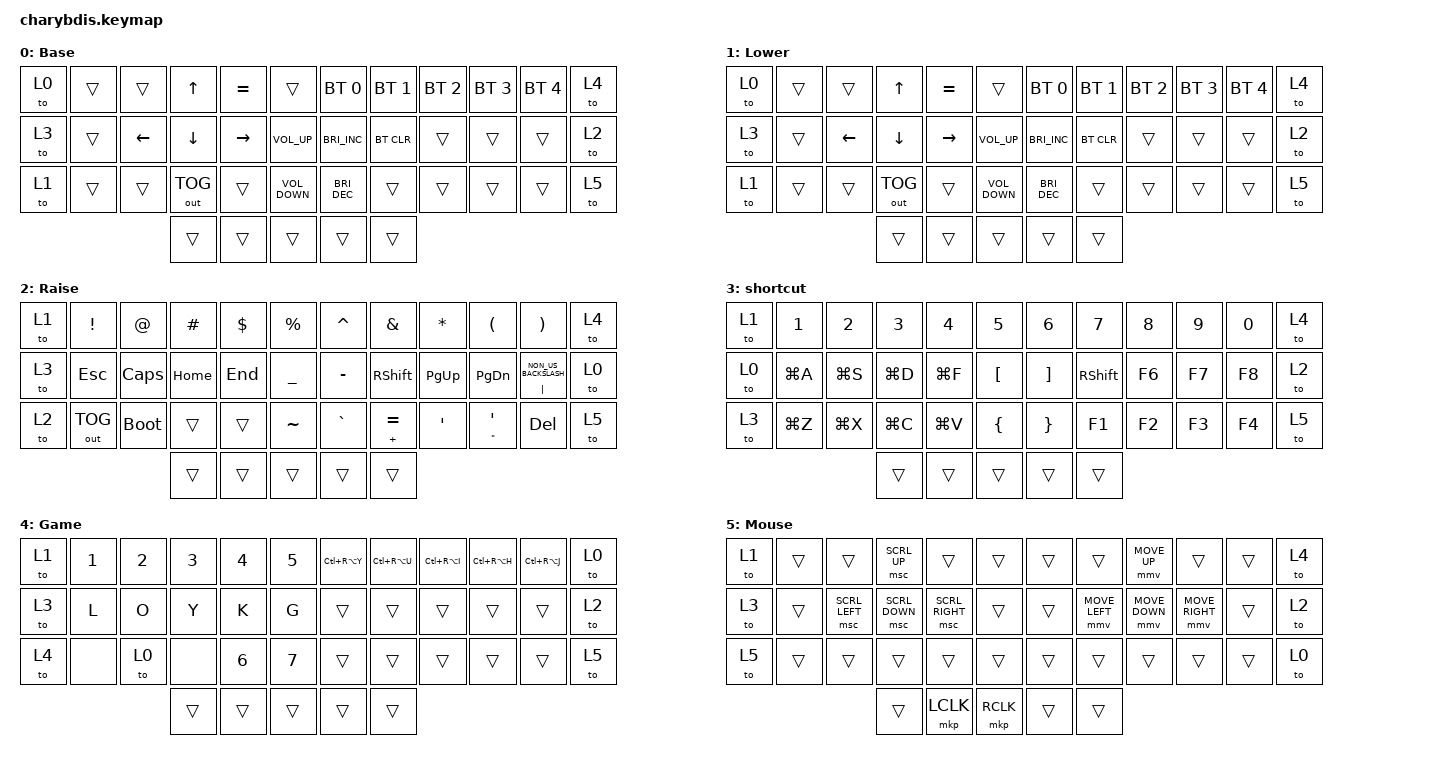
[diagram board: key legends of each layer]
#include <behaviors.dtsi>
#include <dt-bindings/zmk/mouse.h>
#include <dt-bindings/zmk/bt.h>
#include <dt-bindings/zmk/keys.h>
#include <dt-bindings/zmk/outputs.h>

&lt {
    tapping-term-ms = <240>;
    flavor = "balanced";
    quick-tap-ms = <150>;
};

&mt {
    global-quick-tap;
    flavor = "tap-preferred";
    tapping-term-ms = <200>;
};

&sk {
    release-after-ms = <2000>;
    quick-release;
};

/ {
    combos {
        compatible = "zmk,combos";

        combo_esc {
            timeout-ms = <50>;
            key-positions = <0 1>;
            bindings = <&kp ESC>;
        };

        left_bkt {
            bindings = <&kp LEFT_BRACKET>;
            key-positions = <2 3>;
            timeout-ms = <50>;
        };

        right_bkt {
            bindings = <&kp RIGHT_BRACKET>;
            key-positions = <8 9>;
            timeout-ms = <50>;
        };

        left_par {
            bindings = <&kp LEFT_PARENTHESIS>;
            key-positions = <15 16>;
            timeout-ms = <50>;
        };

        right_par {
            bindings = <&kp RIGHT_PARENTHESIS>;
            key-positions = <19 20>;
            timeout-ms = <50>;
        };

        left_brace {
            bindings = <&kp LEFT_BRACE>;
            key-positions = <27 28>;
            timeout-ms = <50>;
        };

        right_brace {
            bindings = <&kp RIGHT_BRACE>;
            key-positions = <31 32>;
            timeout-ms = <50>;
        };

        bac {
            bindings = <&kp BACKSLASH>;
            key-positions = <5 6>;
            timeout-ms = <50>;
        };

        pipe {
            bindings = <&kp PIPE>;
            key-positions = <17 18>;
            timeout-ms = <50>;
        };
    };

    behaviors {
        hm: homerow_mods {
            compatible = "zmk,behavior-hold-tap";
            label = "HOMEROW_MODS";
            bindings = <&kp>, <&kp>;

            #binding-cells = <2>;
            tapping-term-ms = <200>;
            quick-tap-ms = <180>;
            flavor = "tap-preferred";
        };

        ltq: ltq {
            compatible = "zmk,behavior-hold-tap";
            label = "LTQ";
            bindings = <&mo>, <&kp>;

            #binding-cells = <2>;
            tapping-term-ms = <200>;
            quick-tap-ms = <180>;
        };

        as: auto_shift {
            compatible = "zmk,behavior-hold-tap";
            label = "AUTO_SHIFT";
            bindings = <&kp>, <&kp>;

            #binding-cells = <2>;
            tapping-term-ms = <135>;
            quick-tap-ms = <0>;
        };
    };

    keymap {
        compatible = "zmk,keymap";

        Base {
            label = "Base";
            bindings = <
&to 0  &trans  &trans    &kp UP        &kp EQUAL  &trans               &bt BT_SEL 0          &bt BT_SEL 1  &bt BT_SEL 2  &bt BT_SEL 3  &bt BT_SEL 4  &to 4
&to 3  &trans  &kp LEFT  &kp DOWN      &kp RIGHT  &kp C_VOLUME_UP      &kp C_BRIGHTNESS_INC  &bt BT_CLR    &trans        &trans        &trans        &to 2
&to 1  &trans  &trans    &out OUT_TOG  &trans     &kp C_VOLUME_DOWN    &kp C_BRI_DEC         &trans        &trans        &trans        &trans        &to 5
                         &trans        &trans     &trans               &trans                &trans
            >;
        };

        Lower {
            label = "Lower";
            bindings = <
&to 0  &trans  &trans    &kp UP        &kp EQUAL  &trans               &bt BT_SEL 0          &bt BT_SEL 1  &bt BT_SEL 2  &bt BT_SEL 3  &bt BT_SEL 4  &to 4
&to 3  &trans  &kp LEFT  &kp DOWN      &kp RIGHT  &kp C_VOLUME_UP      &kp C_BRIGHTNESS_INC  &bt BT_CLR    &trans        &trans        &trans        &to 2
&to 1  &trans  &trans    &out OUT_TOG  &trans     &kp C_VOLUME_DOWN    &kp C_BRI_DEC         &trans        &trans        &trans        &trans        &to 5
                         &trans        &trans     &trans               &trans                &trans
            >;
        };

        Raise {
            label = "Raise";
            bindings = <
&to 1  &kp EXCL      &kp AT        &kp HASH  &kp DLLR  &kp PRCNT         &kp CARET  &kp AMPS         &kp ASTERISK  &kp LPAR                        &kp RPAR                   &to 4
&to 3  &kp ESCAPE    &kp CAPSLOCK  &kp HOME  &kp END   &kp UNDERSCORE    &kp MINUS  &kp RIGHT_SHIFT  &kp PAGE_UP   &kp PAGE_DOWN                   &as PIPE NON_US_BACKSLASH  &to 0
&to 2  &out OUT_TOG  &bootloader   &trans    &trans    &kp TILDE         &kp GRAVE  &as PLUS EQUAL   &kp SQT       &as DOUBLE_QUOTES SINGLE_QUOTE  &kp DELETE                 &to 5
                                   &trans    &trans    &trans            &trans     &trans
            >;
        };

        Shortcut {
            label = "shortcut";
            bindings = <
&to 1  &kp NUMBER_1  &kp NUMBER_2  &kp NUMBER_3  &kp NUMBER_4  &kp NUMBER_5        &kp NUMBER_6       &kp NUMBER_7     &kp NUMBER_8  &kp NUMBER_9  &kp NUMBER_0  &to 4
&to 0  &kp LG(A)     &kp LG(S)     &kp LG(D)     &kp LG(F)     &kp LEFT_BRACKET    &kp RIGHT_BRACKET  &kp RIGHT_SHIFT  &kp F6        &kp F7        &kp F8        &to 2
&to 3  &kp LG(Z)     &kp LG(X)     &kp LG(C)     &kp LG(V)     &kp LEFT_BRACE      &kp RIGHT_BRACE    &kp F1           &kp F2        &kp F3        &kp F4        &to 5
                                   &trans        &trans        &trans              &trans             &trans
            >;
        };

        Game {
            label = "Game";
            bindings = <
&to 1  &kp NUMBER_1  &kp NUMBER_2  &kp NUMBER_3  &kp NUMBER_4  &kp NUMBER_5    &kp LC(RA(Y))  &kp LC(RA(U))  &kp LC(RA(I))  &kp LC(RA(H))  &kp LC(RA(J))  &to 0
&to 3  &kp L         &kp O         &kp Y         &kp K         &kp G           &trans         &trans         &trans         &trans         &trans         &to 2
&to 4  &none         &to 0         &none         &kp NUMBER_6  &kp NUMBER_7    &trans         &trans         &trans         &trans         &trans         &to 5
                                   &trans        &trans        &trans          &trans         &trans
            >;
        };

        Mouse {
            bindings = <
&to 1  &trans  &trans          &msc SCRL_UP    &trans           &trans       &trans  &trans          &mmv MOVE_UP    &trans           &trans  &to 4
&to 3  &trans  &msc SCRL_LEFT  &msc SCRL_DOWN  &msc SCRL_RIGHT  &trans       &trans  &mmv MOVE_LEFT  &mmv MOVE_DOWN  &mmv MOVE_RIGHT  &trans  &to 2
&to 5  &trans  &trans          &trans          &trans           &trans       &trans  &trans          &trans          &trans           &trans  &to 0
                               &trans          &mkp LCLK           &mkp RCLK    &trans  &trans
            >;
        };
    };
};
